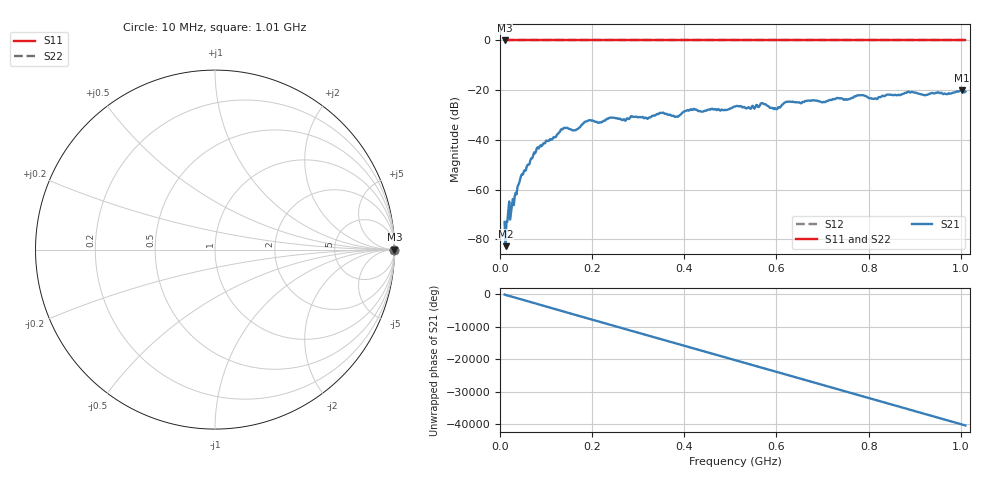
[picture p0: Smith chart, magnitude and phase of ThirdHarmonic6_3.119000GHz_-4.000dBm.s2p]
! 8/17/2025 9:15:00 AM
! C:\ANRITSUVNA\TEMP\TEMP.S2P
! CHANNEL.1
! TR.MEASUREMENT
! RAW.DATA
! RF.CORRECTION.OFF
! AVERAGING.OFF
! IF.BANDWIDTH: 5KHZ
! SWEEPTYPE:  FREQ.SWEEP(Linear)
! Reference Plane Port Info
! PORT:  PORT1  PORT2
! DISTANCE:  0  m  0  m
! TIME:  0  s  0  s
! PHASE.OFFSET:  0  deg.  0  deg.
! LOSS:  0  dB  0  dB
! REF.LOSS:  0  dB  0  dB
! REF.FREQ:  0  Hz  0  Hz
! Power Info
! POWER:  -20  dBm  -20  dBm
! EFF.POWER:  -20  dBm  -20  dBm
! SOURCE.ATTEN:  0  dB  0  dB
! TEST.ATTEN:  0  dB  0  dB
# GHZ S RI R 50.0
! FREQ.GHZ  S11RE  S11IM  S21RE  S21IM  S12RE  S12IM  S22RE  S22IM
!; PortSelection: Port_12
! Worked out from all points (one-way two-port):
!   501 points, 10 MHz to 1.01 GHz, reference 50 ohm
!   highest |S21| = -20.02 dB at 1.002 GHz (marker M1); lowest = -82.7 dB at 12 MHz (marker M2)
!   lowest |S11| = 0.0 dB at 10 MHz (marker M3)
!   |S11| at or under -10 dB: nowhere
!   |S22| runs from 0.0 to 0.0 dB; largest |S21 - S12| = 1.1
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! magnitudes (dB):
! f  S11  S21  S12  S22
! 10 MHz  0.0  -73.0  0.0  0.0
! 12 MHz  0.0  -82.7  0.0  0.0
! 22 MHz  0.0  -72.1  0.0  0.0
! 26 MHz  0.0  -66.2  0.0  0.0
! 44 MHz  0.0  -55.6  0.0  0.0
! 78 MHz  0.0  -44.7  0.0  0.0
! 136 MHz  0.0  -35.7  0.0  0.0
! 162 MHz  0.0  -36.1  0.0  0.0
! 178 MHz  0.0  -33.8  0.0  0.0
! 194 MHz  0.0  -32.1  0.0  0.0
! 322 MHz  0.0  -31.2  0.0  0.0
! 344 MHz  0.0  -29.6  0.0  0.0
! 384 MHz  0.0  -30.6  0.0  0.0
! 410 MHz  0.0  -28.3  0.0  0.0
! 510 MHz  0.0  -26.6  0.0  0.0
! 570 MHz  0.0  -25.2  0.0  0.0
! 598 MHz  0.0  -27.4  0.0  0.0
! 624 MHz  0.0  -24.6  0.0  0.0
! 678 MHz  0.0  -24.1  0.0  0.0
! 844 MHz  0.0  -21.8  0.0  0.0
! 1.002 GHz  0.0  -20.0  0.0  0.0
! 1.01 GHz  0.0  -20.6  0.0  0.0
